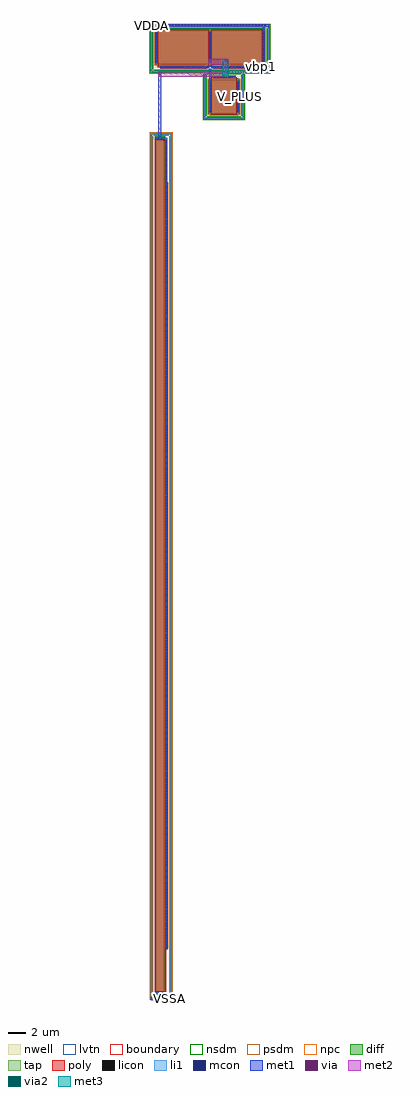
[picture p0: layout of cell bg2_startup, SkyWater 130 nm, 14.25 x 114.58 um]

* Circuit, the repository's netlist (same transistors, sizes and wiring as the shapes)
* SPICE3 file created from bg2_startup_lvs.ext - technology: sky130A

X0 sky130_fd_pr__nfet_01v8_BH8H9B_0/G vbp1 VDDA VDDA sky130_fd_pr__pfet_01v8_lvt ad=1.16 pd=8.58 as=1.16 ps=8.58 w=4 l=6
X1 VSSA sky130_fd_pr__nfet_01v8_BH8H9B_0/G sky130_fd_pr__nfet_01v8_BH8H9B_0/G VSSA sky130_fd_pr__nfet_01v8 ad=0.29 pd=2.58 as=0.29 ps=2.58 w=1 l=100
X2 VDDA vbp1 sky130_fd_pr__nfet_01v8_BH8H9B_0/G VDDA sky130_fd_pr__pfet_01v8_lvt ad=1.16 pd=8.58 as=1.16 ps=8.58 w=4 l=6
X3 V_PLUS sky130_fd_pr__nfet_01v8_BH8H9B_0/G vbp1 VDDA sky130_fd_pr__pfet_01v8_lvt ad=1.16 pd=8.58 as=1.16 ps=8.58 w=4 l=3

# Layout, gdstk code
from math import pi, radians
import gdstk
lib = gdstk.Library(unit=1e-6, precision=1e-09)
def R(c, l, rs):  # rectangles x0, y0, x1, y1
    for r in rs: c.add(gdstk.rectangle(r[:2], r[2:], *l))
def A(c, l, x, y, w, h, nx, ny, dx, dy):  # array of equal rectangles
    R(c, l, [(x+i*dx, y+j*dy, x+i*dx+w, y+j*dy+h) for i in range(nx) for j in range(ny)])
nwell = (64, 20)
diff = (65, 20)
tap = (65, 44)
poly = (66, 20)
licon = (66, 44)
li1 = (67, 20)
mcon = (67, 44)
met1 = (68, 20)
via = (68, 44)
met2 = (69, 20)
via2 = (69, 44)
met3 = (70, 20)
nsdm = (93, 44)
psdm = (94, 20)
npc = (95, 20)
lvtn = (125, 44)
boundary = (235, 4)

sky130_fd_pr__pfet_01v8_ = lib.new_cell('sky130_fd_pr__pfet_01v8_lvt_RVE6BE')
R(sky130_fd_pr__pfet_01v8_, nwell, [(-2.48,-2.92,2.48,2.92)])
R(sky130_fd_pr__pfet_01v8_, diff, [(-1.79,-2.18,1.79,1.82)])
R(sky130_fd_pr__pfet_01v8_, tap, [(-2.3,-2.74,2.3,-2.57), (-2.3,-2.57,-2.13,2.57), (2.13,-2.57,2.3,2.57), (-2.3,2.57,2.3,2.74)])
R(sky130_fd_pr__pfet_01v8_, poly, [(-1.5,-2.31,1.5,2.14), (-1.36,2.14,1.36,2.305)])
A(sky130_fd_pr__pfet_01v8_, licon, -1.615, -2.74, 0.17, 0.17, 10, 1, 0.34, 0)
A(sky130_fd_pr__pfet_01v8_, licon, -2.3, -1.955, 0.17, 0.17, 1, 12, 0, 0.34)
A(sky130_fd_pr__pfet_01v8_, licon, 2.13, -1.955, 0.17, 0.17, 1, 12, 0, 0.34)
A(sky130_fd_pr__pfet_01v8_, licon, -1.73, -1.795, 0.17, 0.17, 1, 10, 0, 0.34)
A(sky130_fd_pr__pfet_01v8_, licon, 1.56, -1.795, 0.17, 0.17, 1, 10, 0, 0.34)
A(sky130_fd_pr__pfet_01v8_, licon, -1.275, 2.055, 0.17, 0.17, 8, 1, 0.34, 0)
R(sky130_fd_pr__pfet_01v8_, li1, [(-2.3,-2.74,2.3,-2.57), (-2.3,-2.57,-2.13,2.57), (2.13,-2.57,2.3,2.57), (-1.73,-2.005,-1.56,1.645), (1.56,-2.005,1.73,1.645), (-1.36,2.055,1.36,2.225), (-2.3,2.57,2.3,2.74)])
A(sky130_fd_pr__pfet_01v8_, mcon, -1.73, -1.885, 0.17, 0.17, 1, 10, 0, 0.36)
A(sky130_fd_pr__pfet_01v8_, mcon, 1.56, -1.885, 0.17, 0.17, 1, 10, 0, 0.36)
A(sky130_fd_pr__pfet_01v8_, mcon, -1.165, 2.055, 0.17, 0.17, 7, 1, 0.36, 0)
R(sky130_fd_pr__pfet_01v8_, met1, [(-1.76,-1.985,-1.53,1.625), (1.53,-1.985,1.76,1.625), (-1.34,2.025,1.34,2.255)])
R(sky130_fd_pr__pfet_01v8_, nsdm, [(-2.425,-2.865,2.425,-2.445), (-2.425,-2.445,-2.005,2.445), (2.005,-2.445,2.425,2.445), (-2.425,2.445,2.425,2.865)])
R(sky130_fd_pr__pfet_01v8_, psdm, [(-1.915,-2.305,1.915,1.945)])
R(sky130_fd_pr__pfet_01v8_, npc, [(-1.375,1.955,1.375,2.325)])
R(sky130_fd_pr__pfet_01v8_, lvtn, [(-1.68,-2.36,1.68,2)])
R(sky130_fd_pr__pfet_01v8_, boundary, [(-2.215,-2.655,2.215,2.655)])
sky130_fd_pr__pfet_01v8_.add(gdstk.Label('B', (0,-2.655), layer=67, texttype=5))
sky130_fd_pr__pfet_01v8_.add(gdstk.Label('D', (-1.645,-0.18), layer=67, texttype=5))
sky130_fd_pr__pfet_01v8_.add(gdstk.Label('S', (1.645,-0.18), layer=67, texttype=5))
sky130_fd_pr__pfet_01v8_.add(gdstk.Label('G', (0,2.14), layer=67, texttype=5))

c_sky130_fd_pr__pfet_01v8_ = lib.new_cell('sky130_fd_pr__pfet_01v8_lvt_E9YYQQ')
R(c_sky130_fd_pr__pfet_01v8_, nwell, [(-3.98,-2.92,3.29,2.92)])
R(c_sky130_fd_pr__pfet_01v8_, diff, [(-3.29,-1.82,3.29,2.18)])
R(c_sky130_fd_pr__pfet_01v8_, tap, [(-3.8,-2.74,3.29,-2.57), (-3.8,-2.57,-3.63,2.57), (-3.8,2.57,3.29,2.74)])
R(c_sky130_fd_pr__pfet_01v8_, poly, [(-2.71,-2.305,2.71,-2.14), (-3,-2.14,3,2.31)])
A(c_sky130_fd_pr__pfet_01v8_, licon, -2.975, -2.74, 0.17, 0.17, 18, 2, 0.34, 5.31)
A(c_sky130_fd_pr__pfet_01v8_, licon, -2.465, -2.225, 0.17, 0.17, 15, 1, 0.34, 0)
A(c_sky130_fd_pr__pfet_01v8_, licon, -3.8, -1.955, 0.17, 0.17, 1, 12, 0, 0.34)
A(c_sky130_fd_pr__pfet_01v8_, licon, -3.23, -1.435, 0.17, 0.17, 1, 10, 0, 0.34)
A(c_sky130_fd_pr__pfet_01v8_, licon, 3.06, -1.435, 0.17, 0.17, 1, 10, 0, 0.34)
R(c_sky130_fd_pr__pfet_01v8_, li1, [(-3.8,-2.74,3.29,-2.57), (-3.8,-2.57,-3.63,2.57), (-2.71,-2.225,2.71,-2.055), (-3.23,-1.645,-3.06,2.005), (3.06,-1.645,3.23,2.005), (-3.8,2.57,3.29,2.74)])
A(c_sky130_fd_pr__pfet_01v8_, mcon, -2.605, -2.225, 0.17, 0.17, 15, 1, 0.36, 0)
A(c_sky130_fd_pr__pfet_01v8_, mcon, -3.23, -1.525, 0.17, 0.17, 1, 10, 0, 0.36)
A(c_sky130_fd_pr__pfet_01v8_, mcon, 3.06, -1.525, 0.17, 0.17, 1, 10, 0, 0.36)
R(c_sky130_fd_pr__pfet_01v8_, met1, [(-2.69,-2.255,2.69,-2.025), (-3.26,-1.625,-3.03,1.985), (3.03,-1.625,3.26,1.985)])
R(c_sky130_fd_pr__pfet_01v8_, nsdm, [(-3.925,-2.865,3.415,-2.445), (-3.925,-2.445,-3.505,2.445), (-3.925,2.445,3.415,2.865)])
R(c_sky130_fd_pr__pfet_01v8_, psdm, [(-3.415,-1.945,3.415,2.305)])
R(c_sky130_fd_pr__pfet_01v8_, npc, [(-2.565,-2.325,2.565,-1.955)])
R(c_sky130_fd_pr__pfet_01v8_, lvtn, [(-3.18,-2,3.18,2.36)])
R(c_sky130_fd_pr__pfet_01v8_, boundary, [(-3.715,-2.655,3.715,2.655)])
c_sky130_fd_pr__pfet_01v8_.add(gdstk.Label('B', (0,-2.655), layer=67, texttype=5))
c_sky130_fd_pr__pfet_01v8_.add(gdstk.Label('D', (-3.145,0.18), layer=67, texttype=5))
c_sky130_fd_pr__pfet_01v8_.add(gdstk.Label('S', (3.145,0.18), layer=67, texttype=5))
c_sky130_fd_pr__pfet_01v8_.add(gdstk.Label('G', (0,-2.14), layer=67, texttype=5))

c_sky130_fd_pr__pfet_01v8__ = lib.new_cell('sky130_fd_pr__pfet_01v8_lvt_ATKBUG')
R(c_sky130_fd_pr__pfet_01v8__, nwell, [(-3.29,-2.92,3.98,2.92)])
R(c_sky130_fd_pr__pfet_01v8__, diff, [(-3.29,-1.82,3.29,2.18)])
R(c_sky130_fd_pr__pfet_01v8__, tap, [(-3.29,-2.74,3.8,-2.57), (3.63,-2.57,3.8,2.57), (-3.29,2.57,3.8,2.74)])
R(c_sky130_fd_pr__pfet_01v8__, poly, [(-2.71,-2.305,2.71,-2.14), (-3,-2.14,3,2.31)])
A(c_sky130_fd_pr__pfet_01v8__, licon, -2.975, -2.74, 0.17, 0.17, 18, 2, 0.34, 5.31)
A(c_sky130_fd_pr__pfet_01v8__, licon, -2.465, -2.225, 0.17, 0.17, 15, 1, 0.34, 0)
A(c_sky130_fd_pr__pfet_01v8__, licon, 3.63, -1.955, 0.17, 0.17, 1, 12, 0, 0.34)
A(c_sky130_fd_pr__pfet_01v8__, licon, -3.23, -1.435, 0.17, 0.17, 1, 10, 0, 0.34)
A(c_sky130_fd_pr__pfet_01v8__, licon, 3.06, -1.435, 0.17, 0.17, 1, 10, 0, 0.34)
R(c_sky130_fd_pr__pfet_01v8__, li1, [(-3.29,-2.74,3.8,-2.57), (3.63,-2.57,3.8,2.57), (-2.71,-2.225,2.71,-2.055), (-3.23,-1.645,-3.06,2.005), (3.06,-1.645,3.23,2.005), (-3.29,2.57,3.8,2.74)])
A(c_sky130_fd_pr__pfet_01v8__, mcon, -2.605, -2.225, 0.17, 0.17, 15, 1, 0.36, 0)
A(c_sky130_fd_pr__pfet_01v8__, mcon, -3.23, -1.525, 0.17, 0.17, 1, 10, 0, 0.36)
A(c_sky130_fd_pr__pfet_01v8__, mcon, 3.06, -1.525, 0.17, 0.17, 1, 10, 0, 0.36)
R(c_sky130_fd_pr__pfet_01v8__, met1, [(-2.69,-2.255,2.69,-2.025), (-3.26,-1.625,-3.03,1.985), (3.03,-1.625,3.26,1.985)])
R(c_sky130_fd_pr__pfet_01v8__, nsdm, [(-3.415,-2.865,3.925,-2.445), (3.505,-2.445,3.925,2.445), (-3.415,2.445,3.925,2.865)])
R(c_sky130_fd_pr__pfet_01v8__, psdm, [(-3.415,-1.945,3.415,2.305)])
R(c_sky130_fd_pr__pfet_01v8__, npc, [(-2.565,-2.325,2.565,-1.955)])
R(c_sky130_fd_pr__pfet_01v8__, lvtn, [(-3.18,-2,3.18,2.36)])
R(c_sky130_fd_pr__pfet_01v8__, boundary, [(-3.715,-2.655,3.715,2.655)])
c_sky130_fd_pr__pfet_01v8__.add(gdstk.Label('B', (0,-2.655), layer=67, texttype=5))
c_sky130_fd_pr__pfet_01v8__.add(gdstk.Label('D', (-3.145,0.18), layer=67, texttype=5))
c_sky130_fd_pr__pfet_01v8__.add(gdstk.Label('S', (3.145,0.18), layer=67, texttype=5))
c_sky130_fd_pr__pfet_01v8__.add(gdstk.Label('G', (0,-2.14), layer=67, texttype=5))

sky130_fd_pr__nfet_01v8_ = lib.new_cell('sky130_fd_pr__nfet_01v8_BH8H9B')
R(sky130_fd_pr__nfet_01v8_, diff, [(-50.29,-0.655,50.29,0.345)])
R(sky130_fd_pr__nfet_01v8_, tap, [(-50.8,-1.215,50.8,-1.045), (-50.8,-1.045,-50.63,1.045), (50.63,-1.045,50.8,1.045), (-50.8,1.045,50.8,1.215)])
R(sky130_fd_pr__nfet_01v8_, poly, [(-50,-0.785,50,0.62), (-45.01,0.62,45.01,0.785)])
A(sky130_fd_pr__nfet_01v8_, licon, -45.135, -1.215, 0.17, 0.17, 266, 2, 0.34, 2.26)
A(sky130_fd_pr__nfet_01v8_, licon, -50.8, -0.595, 0.17, 0.17, 1, 4, 0, 0.34)
A(sky130_fd_pr__nfet_01v8_, licon, 50.63, -0.595, 0.17, 0.17, 1, 4, 0, 0.34)
A(sky130_fd_pr__nfet_01v8_, licon, -44.795, 0.535, 0.17, 0.17, 264, 1, 0.34, 0)
R(sky130_fd_pr__nfet_01v8_, licon, [(-50.23,-0.41,-50.06,-0.24), (50.06,-0.41,50.23,-0.24), (-50.23,-0.07,-50.06,0.1), (50.06,-0.07,50.23,0.1)])
R(sky130_fd_pr__nfet_01v8_, li1, [(-50.8,-1.215,50.8,-1.045), (-50.8,-1.045,-50.63,1.045), (50.63,-1.045,50.8,1.045), (-50.23,-0.63,-50.06,0.32), (50.06,-0.63,50.23,0.32), (-45.01,0.535,45.01,0.705), (-50.8,1.045,50.8,1.215)])
A(sky130_fd_pr__nfet_01v8_, mcon, -44.905, 0.535, 0.17, 0.17, 250, 1, 0.36, 0)
R(sky130_fd_pr__nfet_01v8_, mcon, [(-50.23,-0.42,-50.06,-0.25), (50.06,-0.42,50.23,-0.25), (-50.23,-0.06,-50.06,0.11), (50.06,-0.06,50.23,0.11)])
R(sky130_fd_pr__nfet_01v8_, met1, [(-50.26,-0.61,-50.03,0.3), (50.03,-0.61,50.26,0.3), (-44.99,0.505,44.99,0.735)])
R(sky130_fd_pr__nfet_01v8_, nsdm, [(-50.415,-0.78,50.415,0.47)])
R(sky130_fd_pr__nfet_01v8_, psdm, [(-50.925,-1.34,50.925,-0.92), (-50.925,-0.92,-50.505,0.92), (50.505,-0.92,50.925,0.92), (-50.925,0.92,50.925,1.34)])
R(sky130_fd_pr__nfet_01v8_, npc, [(-44.895,0.435,44.895,0.805)])
R(sky130_fd_pr__nfet_01v8_, boundary, [(-50.715,-1.13,50.715,1.13)])
sky130_fd_pr__nfet_01v8_.add(gdstk.Label('B', (0,-1.13), layer=67, texttype=5))
sky130_fd_pr__nfet_01v8_.add(gdstk.Label('D', (-50.145,-0.155), layer=67, texttype=5))
sky130_fd_pr__nfet_01v8_.add(gdstk.Label('S', (50.145,-0.155), layer=67, texttype=5))
sky130_fd_pr__nfet_01v8_.add(gdstk.Label('G', (0,0.62), layer=67, texttype=5))

bg2_startup = lib.new_cell('bg2_startup')
R(bg2_startup, nwell, [(4.415,-0.47,9.375,4.935)])
R(bg2_startup, li1, [(-0.085,-109,2.345,-108.83), (0.135,-108.83,2.07,-108.695), (4.595,-0.085,4.765,0.085), (9.025,-0.085,9.195,-0.015), (0.165,5.265,13.51,5.395), (-0.085,5.395,13.805,5.565)])
A(bg2_startup, mcon, 0.295, -108.915, 0.17, 0.17, 5, 1, 0.36, 0)
A(bg2_startup, mcon, 0.27, 5.31, 0.17, 0.17, 37, 1, 0.36, 0)
R(bg2_startup, met1, [(-0.085,-109,2.345,-108.66), (0.865,-108.66,1.095,-108.07), (1.635,-13.055,1.865,-8), (0.835,-8,1.065,-7.895), (1.41,-8,1.865,-7.77), (0.785,-7.895,1.115,-0.05), (10.04,-3.06,10.63,-2.83), (6.75,-1.17,6.98,0.4), (8.375,-0.625,9.005,-0.05), (6.405,0.4,7.42,0.63), (12.685,0.4,12.9,0.63), (6.695,1.01,7.035,1.335), (0.455,4.47,0.685,5.225), (13.035,4.475,13.265,5.225), (-0.085,5.225,13.805,5.565)])
R(bg2_startup, via, [(8.6,-0.5,8.75,-0.35), (0.875,-0.4,1.025,-0.25), (6.79,1.1,6.94,1.25)])
R(bg2_startup, met2, [(0.785,-0.625,9.005,-0.05), (6.695,0.87,8.975,1.445)])
R(bg2_startup, via2, [(8.575,-0.525,8.775,-0.325), (8.54,1.07,8.74,1.27)])
R(bg2_startup, met3, [(8.375,-0.625,8.975,1.445)])
bg2_startup.add(gdstk.Reference(sky130_fd_pr__pfet_01v8_, (8.51,-2.795)))
bg2_startup.add(gdstk.Reference(c_sky130_fd_pr__pfet_01v8_, (3.715,2.655)))
bg2_startup.add(gdstk.Reference(c_sky130_fd_pr__pfet_01v8__, (10.005,2.655)))
bg2_startup.add(gdstk.Reference(sky130_fd_pr__nfet_01v8_, (1.13,-58.03), rotation=3*pi/2))
bg2_startup.add(gdstk.Label('VDDA', (0.035,5.4), layer=68, texttype=5))
bg2_startup.add(gdstk.Label('vbp1', (12.85,0.53), layer=68, texttype=5))
bg2_startup.add(gdstk.Label('V_PLUS', (10.465,-2.945), layer=68, texttype=5))
bg2_startup.add(gdstk.Label('VSSA', (2.14,-108.86), layer=68, texttype=5))

lib.write_gds('bg2_startup.gds')
